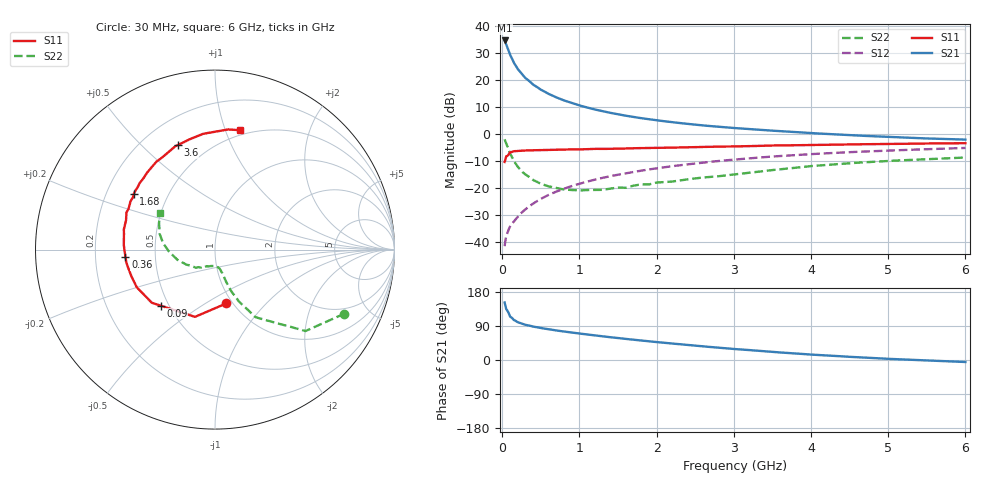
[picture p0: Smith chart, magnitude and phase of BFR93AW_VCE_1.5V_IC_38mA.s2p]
! Infineon Technologies  Discrete & RF Semiconductors
! BFR93AW
! VCE =  1.5 V,  IC =  38 mA
! Common Emitter S-Parameters:  Nov 2015
# GHz  S  MA  R  50
!  f  S11  S21  S12  S22
! GHz  MAG  ANG  MAG  ANG  MAG  ANG  MAG  ANG
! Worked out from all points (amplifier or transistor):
!   206 points, 30 MHz to 6 GHz, reference 50 ohm
!   highest |S21| = 34.6 dB at 30 MHz (marker M1)
!   |S21| within 3 dB of that: start of sweep to 71.59 MHz
!   unconditionally stable (mu >= 1): 364.3 MHz to 2.485 GHz
!   at 200 MHz: K = 0.89, MSG = 27.3 dB, |S12| = -30.6 dB
!   at 1.56 GHz: K = 1.05, MAG = 9.5 dB, |S12| = -14.7 dB
!   at 6 GHz: K = 0.96, MSG = 1.5 dB, |S12| = -5.1 dB
!   S11 on the Smith chart (normalised r, x): 30 MHz: 0.94, -0.62; 90 MHz: 0.45, -0.35; 360 MHz: 0.33, -0.04; 1.68 GHz: 0.32, +0.28; 3.6 GHz: 0.34, +0.65; 6 GHz: 0.45, +1.12
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0.03  0.3063 -78.1  53.86 151.7  0.0085 69.5  0.8048 -26.3
0.05  0.391 -106.6  45.7 134.7  0.0129 63.4  0.6782 -42.0
0.09  0.4355 -134.2  32.23 120.4  0.0183 61.7  0.4831 -54.3
0.1  0.46 -139.9  29.35 114.9  0.0196 61.4  0.4397 -59.0
0.15  0.4839 -154.3  20.79 105.5  0.0243 64.2  0.317 -65.3
0.2  0.4888 -162.2  16.02 99.8  0.0296 65.4  0.2502 -68.6
0.24  0.4927 -166.9  13.57 96.8  0.0342 67.9  0.2144 -69.8
0.3  0.4992 -171.7  10.89 92.8  0.0408 69.7  0.1796 -71.2
0.36  0.5007 -175.4  9.278 90.3  0.0475 71.1  0.157 -71.8
0.4  0.5028 -177.8  8.22 88.1  0.052 71.9  0.142 -72.4
0.5  0.5085 177.6  6.628 84.2  0.0635 72.2  0.1205 -74.8
0.6  0.5106 174.3  5.545 81.1  0.0753 73.0  0.1084 -76.4
0.8  0.5201 167.5  4.195 75.1  0.0981 72.4  0.0945 -85.0
1.04  0.5242 160.8  3.268 68.9  0.1255 70.8  0.0916 -93.5
1.32  0.5333 154.3  2.615 62.0  0.1581 68.5  0.0944 -104.3
1.68  0.5475 145.8  2.097 54.0  0.1977 65.3  0.1097 -119.9
2.02  0.5599 138.6  1.786 46.8  0.2353 61.8  0.1281 -128.6
3.1  0.5958 117.9  1.269 27.7  0.347 49.9  0.1862 -155.0
3.6  0.6183 109.5  1.135 19.9  0.3939 44.1  0.2237 -167.7
4.1  0.6333 101.5  1.027 13.2  0.4351 38.3  0.263 -179.7
5.1  0.66 88.5  0.877 2.3  0.5032 27.4  0.3249 162.1
6  0.6793 78.4  0.793 -5.3  0.5558 18.4  0.3696 146.2
